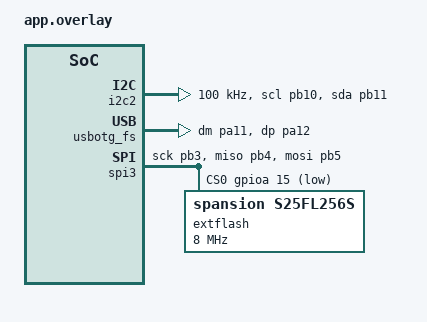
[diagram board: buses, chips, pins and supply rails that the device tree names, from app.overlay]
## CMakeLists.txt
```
cmake_minimum_required(VERSION 3.20.0)
find_package(Zephyr REQUIRED HINTS $ENV{ZEPHYR_BASE})
project(t2i_fw)

target_sources(app PRIVATE src/main.c src/reset_hook.c src/hx8347_fsmc.c src/touch.c
                          src/juno_logo.c src/accel.c src/keypad.c src/wake.c src/lowpower.c src/updater.c src/ui.c src/power.c src/safety.c src/battery.c src/funlight.c src/ir.c src/zbx.c
                          src/em250.c src/etrx2_ebl.c src/zbnet.c)

# Binary assets are generated into C arrays at build time rather than committed as .c blobs, so
# each can be replaced by swapping its source binary:
#   tools/rti/etrx2.ebl        -> the EM250 radio image embedded for on-device reflash
#   assets/juno_logo.rgb565    -> the boot splash (220x60 RGB565, see tools/make_logo.sh)
set(gen_dir ${CMAKE_CURRENT_BINARY_DIR}/gen)
generate_inc_file_for_target(app ${CMAKE_CURRENT_SOURCE_DIR}/tools/rti/etrx2.ebl ${gen_dir}/etrx2_ebl.inc)
generate_inc_file_for_target(app ${CMAKE_CURRENT_SOURCE_DIR}/assets/juno_logo.rgb565 ${gen_dir}/juno_logo.inc)
target_include_directories(app PRIVATE ${gen_dir})

# Firmware version is stamped from git, never hand-tagged: on a USB-only remote the
# boot banner is the only way to confirm which commit is running.
execute_process(
  COMMAND git -C ${CMAKE_CURRENT_SOURCE_DIR} describe --always --dirty
  OUTPUT_VARIABLE FW_GIT_VERSION OUTPUT_STRIP_TRAILING_WHITESPACE ERROR_QUIET)
if(NOT FW_GIT_VERSION)
  set(FW_GIT_VERSION "nogit")
endif()
target_compile_definitions(app PRIVATE FW_GIT_VERSION="${FW_GIT_VERSION}")
```

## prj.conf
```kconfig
# T2i firmware — chain-loaded by the RTI bootloader at 0x08004000.
CONFIG_USE_DT_CODE_PARTITION=y
CONFIG_INIT_ARCH_HW_AT_BOOT=y
CONFIG_SOC_RESET_HOOK=y
CONFIG_ARM_MPU=n
CONFIG_HW_STACK_PROTECTION=n

# I2C2 for the on-board accelerometer (LIS3DH @0x18)
CONFIG_I2C=y

# GPIO: EXTI wake interrupts on the keypad rows + accelerometer INT1 (PE5)
CONFIG_GPIO=y

# Display (HX8347 on FSMC) + LVGL
CONFIG_DISPLAY=y
CONFIG_LVGL=y
CONFIG_LV_COLOR_DEPTH_16=y
# LVGL is ~90% of the image, and Zephyr defaults nearly every widget on. Keep it
# minimal and switch things back on as they are actually used.
CONFIG_LV_USE_LABEL=y
CONFIG_LV_USE_BUTTON=n
CONFIG_LV_USE_IMAGE=y
CONFIG_LV_FONT_MONTSERRAT_14=y

# --- widgets we don't use (default y in Zephyr's LVGL Kconfig) ---
CONFIG_LV_USE_ANIMIMG=n
CONFIG_LV_USE_ARC=n
CONFIG_LV_USE_ARCLABEL=n
CONFIG_LV_USE_BAR=n
CONFIG_LV_USE_BUTTONMATRIX=n
CONFIG_LV_USE_CALENDAR=n
CONFIG_LV_USE_CANVAS=n
CONFIG_LV_USE_CHART=n
CONFIG_LV_USE_CHECKBOX=n
CONFIG_LV_USE_DROPDOWN=n
CONFIG_LV_USE_IMAGEBUTTON=n
CONFIG_LV_USE_KEYBOARD=n
CONFIG_LV_USE_LED=n
CONFIG_LV_USE_LINE=n
CONFIG_LV_USE_LIST=n
CONFIG_LV_USE_MENU=n
CONFIG_LV_USE_MSGBOX=n
CONFIG_LV_USE_ROLLER=n
CONFIG_LV_USE_SCALE=n
CONFIG_LV_USE_SLIDER=n
CONFIG_LV_USE_SPAN=n
CONFIG_LV_USE_SPINBOX=n
CONFIG_LV_USE_SPINNER=n
CONFIG_LV_USE_SWITCH=n
CONFIG_LV_USE_TABLE=n
CONFIG_LV_USE_TABVIEW=n
CONFIG_LV_USE_TEXTAREA=n
CONFIG_LV_USE_TILEVIEW=n
CONFIG_LV_USE_WIN=n
# 48KB. 24KB is NOT enough once the splash image widget exists — the UI hangs
# inside ui_init() with it. (24KB was sufficient for the older label+button UI,
# which is what misled me into trimming it.) Revisit only with a boot test, not
# by reasoning about it.
CONFIG_LV_Z_MEM_POOL_SIZE=49152
CONFIG_LV_Z_VDB_SIZE=16
CONFIG_MAIN_STACK_SIZE=8192

# --- USB update receiver (src/updater.c) -------------------------------------
# The RTI bootloader has no USB, so the application owning a working USB update
# path is what keeps a remote un-brickable without SWD. Keep these enabled.
CONFIG_SERIAL=y
CONFIG_UART_INTERRUPT_DRIVEN=y
CONFIG_RING_BUFFER=y
CONFIG_USB_DEVICE_STACK_NEXT=y
CONFIG_USBD_CDC_ACM_CLASS=y
CONFIG_SPI=y
CONFIG_SYSTEM_WORKQUEUE_STACK_SIZE=4096
CONFIG_UDC_STM32_STACK_SIZE=2048
CONFIG_ISR_STACK_SIZE=2048
```

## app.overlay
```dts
#include <zephyr/dt-bindings/gpio/gpio.h>

/* HX8347 LCD driver (bare-metal FSMC) exposed to Zephyr/LVGL as the display,
 * plus I2C2 for the on-board ST accelerometer (slave 0x18). */
/ {
	chosen {
		zephyr,display = &hx8347;
	};

	hx8347: hx8347 {
		compatible = "rti,hx8347-fsmc";
		width = <240>;
		height = <320>;
		status = "okay";
	};
};

&i2c2 {
	pinctrl-0 = <&i2c2_scl_pb10 &i2c2_sda_pb11>;
	pinctrl-names = "default";
	clock-frequency = <100000>;
	status = "okay";
};

/* USB CDC-ACM (OTG-FS, PA11/PA12) + external SPI-NOR on SPI3.
 * These carry the USB update receiver: the RTI bootloader has no USB of its
 * own, so this is the only no-SWD path back into a remote. */
zephyr_udc0: &usbotg_fs {
	pinctrl-0 = <&usb_otg_fs_dm_pa11 &usb_otg_fs_dp_pa12>;
	pinctrl-names = "default";
	status = "okay";

	cdc_acm_uart0: cdc_acm_uart0 {
		compatible = "zephyr,cdc-acm-uart";
	};
};

&gpioa { status = "okay"; };
&gpiob { status = "okay"; };

&spi3 {
	pinctrl-0 = <&spi3_sck_pb3 &spi3_miso_pb4 &spi3_mosi_pb5>;
	pinctrl-names = "default";
	cs-gpios = <&gpioa 15 GPIO_ACTIVE_LOW>;
	status = "okay";

	extflash: s25fl256s@0 {
		compatible = "spansion,s25fl256s", "jedec,spi-nor";
		reg = <0>;
		size = <0x10000000>;               /* 256 Mbit = 32 MB (bits) */
		spi-max-frequency = <8000000>;
		jedec-id = [01 02 19];
		status = "okay";
	};
};
```

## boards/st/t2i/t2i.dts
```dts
/*
 * RTI T2i — STM32F205VET6 (LQFP100, 512K flash, 128K RAM), 25 MHz HSE crystal.
 * Chain-loaded by RTI's bootloader (sector 0) which jumps to *(0x08004004),
 * so our image lives at 0x08004000 (slot0_partition + USE_DT_CODE_PARTITION).
 */
/dts-v1/;
#include <st/f2/stm32f205Xe.dtsi>
#include <st/f2/stm32f205v(b-c-e-f-g)tx-pinctrl.dtsi>

/ {
	model = "RTI T2i (STM32F205VET6)";
	compatible = "st,stm32f205vet6";

	chosen {
		zephyr,sram = &sram0;
		zephyr,flash = &flash0;
		zephyr,code-partition = &slot0_partition;
	};
};

&clk_hse {
	clock-frequency = <DT_FREQ_M(25)>;   /* 25 MHz crystal (reversed from RTI fw) */
	status = "okay";
};

&pll {
	div-m = <25>;   /* 25 MHz / 25 = 1 MHz PLL input */
	mul-n = <240>;  /* -> 240 MHz VCO */
	div-p = <2>;    /* -> 120 MHz SYSCLK */
	div-q = <5>;    /* -> 48 MHz USB */
	clocks = <&clk_hse>;
	status = "okay";
};

&rcc {
	clocks = <&pll>;
	clock-frequency = <DT_FREQ_M(120)>;
	ahb-prescaler = <1>;
	apb1-prescaler = <4>;
	apb2-prescaler = <2>;
};

&flash0 {
	partitions {
		#address-cells = <1>;
		#size-cells = <1>;

		/* RTI bootloader occupies sector 0 (16K) — must not be overwritten */
		boot_partition: partition@0 {
			label = "rti-bootloader";
			reg = <0x0 0x4000>;
			read-only;
		};

		/* our app: sectors 1..7 (0x08004000..0x0807FFFF, 496K) */
		slot0_partition: partition@4000 {
			label = "image-0";
			reg = <0x4000 0x7C000>;
		};
	};
};
```

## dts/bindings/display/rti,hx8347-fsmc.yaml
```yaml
description: |
  RTI T2i panel — Himax HX8347 controller on an 8-bit FSMC parallel bus.
  The driver drives the FSMC/GPIO/backlight directly (bare-metal), so this
  node is just a handle for the Zephyr display API / LVGL.

compatible: "rti,hx8347-fsmc"

include: [base.yaml]

properties:
  width:
    type: int
    default: 240
  height:
    type: int
    default: 320
```

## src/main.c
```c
/*
 * RTI T2i firmware — top level.
 *
 * Boot order is chosen for recoverability, not convenience. The radio-equipped
 * remote has no SWD, and the RTI bootloader has no USB of its own, so the
 * application enumerating USB *is* the only way back into that unit. Anything
 * that could stop it is therefore started after it, and guarded:
 *
 *   1. safety_boot_check()  count this boot; go USB-only if the last few failed
 *   2. updater_init()       USB update receiver, in its own thread
 *   3. watchdog             a hang now becomes a reset, not a dead remote
 *   4. everything else      display, LVGL, touch, keypad, accelerometer
 *   5. safety_mark_healthy()once the loop has genuinely run for a while
 *
 * Modules: updater.c (USB), ui.c (LVGL), power.c (sleep policy), wake.c (EXTI),
 * lowpower.c (STOP), safety.c (watchdog + boot counting), keypad/accel/touch,
 * hx8347_fsmc.c (display driver).
 */
#include <zephyr/kernel.h>
#include <zephyr/device.h>
#include <zephyr/drivers/display.h>
#include <stdio.h>
#include "status.h"
#include "ui.h"
#include "power.h"
#include "updater.h"
#include "safety.h"
#include "touch.h"
#include "accel.h"
#include "keypad.h"
#include "battery.h"
#include "funlight.h"
#include "ir.h"
#include "em250.h"
#include "zbx.h"
#include "zbnet.h"

uint16_t hx8347_panel_id(void);
int hx8347_backlight_pct(void);
void hx8347_backlight_state(uint32_t *out);
#include "wake.h"
#include "lowpower.h"

#define SPLASH_MS 3000

/* Run this long without incident before declaring the boot good. Long enough to
 * be past init and a few hundred render passes. */
#define HEALTHY_AFTER_MS 10000

/* Stamped from git at build time (git describe --always --dirty) — never
 * hand-tagged. On a USB-only remote the boot banner is still the only way to
 * confirm which commit is actually running. */
#ifndef FW_GIT_VERSION
#define FW_GIT_VERSION "nogit"
#endif
#define FW_VERSION FW_GIT_VERSION

/* Set to 1 to reset before ever reaching safety_mark_healthy(), so the boot
 * counter climbs and safe mode engages. This is how the recovery path gets
 * re-tested after changes to boot, USB or the watchdog — see docs/USB-FLASHING.md. */
#define FORCE_UNHEALTHY 0

/* Deliberately unbootable firmware, for testing the recovery path for real.
 *   1 = hard fault AFTER updater_init()  — should recover via safe mode
 *   2 = hang BEFORE updater_init()       — expected to be UNRECOVERABLE over USB
 * See docs/USB-FLASHING.md. Leave at 0. */
#define BRICK_TEST 0

#define IR_ENABLE_TEST 0   /* browns the remote out — see below */
#define KEY_HOLD_MS 400  /* a press this long is a hold, not a click */
/* Ambient light -> backlight. Thresholds are MEASURED on this hardware, not scaled:
 *   thumb fully over the sensor   1..6
 *   ordinary lit room             5..20
 *   torch pointed at it           400
 * So the entire indoor span is a couple of dozen counts out of 4095, and anything that treated
 * the reading as a 0..4095 range would sit on the bottom step forever. `above` is the raw count
 * a step needs to beat, walked from brightest down. */
static const struct { int above; int pct; } ALS_STEPS[] = {
	{ 100, 90 },   /* daylight or a torch on it */
	{  20, 70 },
	{  10, 50 },
	{   3, 30 },
	{  -1, 15 },   /* covered, or a dark room */
};

/* How long a light level must hold before the backlight follows it.
 *
 * Long on purpose, and longer than the LED's: a hand passing over the remote, or somebody
 * walking between it and a lamp, must not step the screen. Slow is also what stops a feedback
 * loop if the panel's own backlight reaches the sensor -- a fast loop there would ramp itself
 * to full. */
#define ALS_HOLD_MS 2500

/* EMA shift: the average trails by roughly 2^ALS_SMOOTH samples of the 10ms loop, so ~0.6s. */
#define ALS_SMOOTH 6

/* How often to report the radio link over USB. */
#define ZBX_REPORT_MS 10000

/* Reflash the EM250 with RTI's ZB-Pro coordinator image, once, on the first pass after boot.
 * Set 0 once the radio already runs Telegesis — re-running just reflashes the same image
 * needlessly. */
#define EM250_FLASH 0

/* Set to 0 to pin the backlight at BACKLIGHT_PCT and ignore the sensor. */
#define AUTO_BRIGHTNESS 1

#define LED_HOLD_MS 3000 /* how long a charger state must hold before the LED follows */
#define DEBUG_HOLD_MS 3000

#define MARK(off, v) (*(volatile uint32_t *)(0x2001FF00 + (off)) = (uint32_t)(v))

/* USB-only safe mode: the previous boots failed, so run the update receiver and
 * absolutely nothing else. Whatever was crashing — display, LVGL, touch, radio
 * — is not started here, so the host can always push a working image. */
static void safe_mode(void)
{
	MARK(0x00, 0x5AFE);

	/* Clear the counter on the way in, so safe mode is one-shot: the next boot
	 * tries the real firmware again. Without this, anything that resets before
	 * the healthy mark — including a developer's st-flash --reset — latches the
	 * remote into safe mode permanently. If the firmware really is broken it
	 * simply fails three more times and lands back here, which is the
	 * self-recovering behaviour we want. */
	safety_mark_healthy();

	/* Say so, repeatedly. A one-shot line at boot is unobservable on a USB-only unit: the CDC
	 * port stalls ~25s on first open, so by the time a host is listening the boot is long past.
	 * Silence and a working port look identical, which is exactly the confusion this cost. */
	int64_t said = 0;

	while (1) {
		safety_watchdog_feed();
		if (k_uptime_get() - said >= 2000) {
			said = k_uptime_get();
			updater_emit("SAFE MODE — USB only, previous boots failed");
		}
		k_msleep(100);
	}
}

/* Upload progress. Called every 8 blocks, mostly so the watchdog gets fed — the transfer runs far
 * longer than its ~8 s window. The emit is throttled separately so the log stays readable. */
static void flash_progress(unsigned done, unsigned total)
{
	char line[64];

	safety_watchdog_feed();
	if ((done % 64u) == 0u || done == total) {
		snprintf(line, sizeof line, "EM250: %u/%u blocks", done, total);
		updater_emit(line);
	}
}

int main(void)
{
	bool unsafe_boot = safety_boot_check();

	if (BRICK_TEST == 2) {
		/* Before USB exists, so no boot can ever enumerate and safe mode can
		 * never be reached. This is the documented gap, made real. */
		while (1) {
		}
	}

	/* USB first, always: it is the recovery path and must not depend on
	 * anything below it surviving. */
	updater_init();
	MARK(0x00, 1);

	/* Only now arm the watchdog — USB is up, so a later hang resets into a
	 * boot that still enumerates. */
	safety_watchdog_start();

	if (unsafe_boot) {
		safe_mode();   /* never returns */
	}

	if (BRICK_TEST == 1) {
		/* An undefined instruction: a guaranteed UsageFault -> hard fault. A
		 * write to an unmapped address is NOT reliable here — 0xFFFFFFF0 sits in
		 * the vendor/PPB region and the store is simply ignored, which is how
		 * the first attempt at this test silently did nothing.
		 *
		 * Placed after the safe-mode branch, exactly as a broken subsystem would
		 * be: safe mode does not start it, so the remote stays reachable. */
		__asm__ volatile("udf #0");
	}

	if (FORCE_UNHEALTHY) {
		k_msleep(1500);
		safety_force_reset();
	}

	const struct device *disp = DEVICE_DT_GET(DT_CHOSEN(zephyr_display));


	if (!device_is_ready(disp)) {
		safe_mode();   /* no screen, but USB is live — still recoverable */
	}

	ui_init(disp, SPLASH_MS);
	safety_watchdog_feed();

	MARK(0x00, 2);

	touch_init();
	beep_init();
	keypad_init();

	/* Hold any key while powering on: never sleep. Gives a deterministic
	 * always-attachable target for SWD flashing on the bench unit. */
	bool recovery = keypad_any();

	ui_touch_indev_init();
	battery_init();
	funlight_init();

	/* Boot sweep: light each channel in turn, then all three. Which physical
	 * colour each channel drives is not in the decomp, so this is how they get
	 * labelled — the name printed over USB is the channel that is lit. */
	static const char *const fl_ch[3] = { "red", "green", "blue" };

	/* Feed across every one of these. They run AFTER safety_watchdog_start(), and together with
	 * the splash they very nearly exhaust the 8s IWDG period on their own — adding a blocking
	 * radio probe here once pushed boot past it, which reset-looped the remote into safe mode.
	 * On a unit with no SWD that is only recoverable because safe mode keeps USB up. */
	for (int c = 0; c < 3; c++) {
		funlight_set(c == 0, c == 1, c == 2, 100);
		updater_emit(fl_ch[c]);
		safety_watchdog_feed();
		k_msleep(500);
	}
	funlight_set(true, true, true, 100);
	updater_emit("all three");
	safety_watchdog_feed();
	k_msleep(500);

	{
		char idb[40];

		updater_emit("T2i fw " FW_VERSION);
		/* Radio init goes here — in main, after updater_init(). NEVER in a
		 * driver-init hook: anything failing before USB is up cannot be
		 * recovered on a remote without SWD (docs/USB-FLASHING.md). */
		safety_watchdog_feed();
		zbx_uart_init();
		safety_watchdog_feed();
		updater_emit(zbx_selftest() ? "ZBX selftest PASS" : "ZBX selftest FAIL");
		{
			uint8_t pd, pu;
			char lb[64];

			zbx_rx_line(&pd, &pu);
			uint32_t pclk = zbx_pclk1();

			snprintf(lb, sizeof(lb), "ZBX pclk1=%u baud=%u", pclk, pclk / 260u);
			updater_emit(lb);
			snprintf(lb, sizeof(lb), "ZBX rx-line pulldown=%u pullup=%u (%s)", pd, pu,
				 (pd && pu) ? "DRIVEN - radio present" : "FLOATING - nothing driving");
			updater_emit(lb);
		}
		snprintf(idb, sizeof(idb), "PANEL id=0x%04x", hx8347_panel_id());
		updater_emit(idb);
	}
	{
		uint32_t bl[8];
		char blb[128];

		hx8347_backlight_state(bl);
		snprintf(blb, sizeof(blb),
			 "BL cr1=%08x arr=%u ccr2=%u ccer=%04x ccmr1=%04x "
			 "moder_a=%08x afrl_a=%08x idr_c=%08x",
			 bl[0], bl[1], bl[2], bl[3], bl[4], bl[5], bl[6], bl[7]);
		updater_emit(blb);
	}

	ir_init();
	bool accel_ok = accel_init();
	bool wake_ok = wake_init();
	power_init(disp, recovery);
	MARK(0x00, (accel_ok ? 7 : 0x70) | (wake_ok ? 0 : 0x700));

	struct t2i_status st = {
		.accel_ok = accel_ok,
		.recovery = recovery,
		.woke_by = "-",
		.clk = "?",
		.boot_attempts = safety_boot_attempts(),
		.reset_cause = safety_reset_cause(),
	};
	uint32_t beat = 0;
	uint8_t last_reported_key = KEY_NONE;
	static bool flashed;
	int last_led = -1, led_pending = -1;
	int64_t key_down_at = 0;
	bool key_held_sent = false;
	int64_t led_since = 0;
	int als_step = -1, als_pending = -1;
	int64_t als_since = 0;
	int32_t als_acc = -1;   /* EMA accumulator, value << ALS_SMOOTH */
	int64_t zbx_last_report = 0;
	int64_t debug_held_since = 0;
	int64_t backlight_held_since = 0;
	bool menu_lit = false;
	bool healthy = false;
	int64_t started = k_uptime_get();

	zbnet_start();   /* radio runs on its own thread from here; main never touches USART3 again */

	while (1) {
		MARK(0x04, ++beat);
		safety_watchdog_feed();

		if (!healthy && k_uptime_get() - started > HEALTHY_AFTER_MS) {
			safety_mark_healthy();
			healthy = true;
			st.healthy = true;
		}

		/* Report the radio periodically, not just at boot. The CDC port stalls ~25s on first
		 * open, so a one-shot boot banner is unobservable on a unit with no SWD — by the time
		 * a host is listening it is long gone. */
		if (k_uptime_get() - zbx_last_report >= ZBX_REPORT_MS) {
			uint32_t f, bad, by;
			char line[72];

			zbx_last_report = k_uptime_get();
			zbx_stats(&f, &bad, &by);
			uint8_t raw[24];
			size_t rn = zbx_raw(raw, sizeof raw);
			int w = snprintf(line, sizeof(line), "ZBX frames=%u bad=%u bytes=%u raw:", f, bad, by);

			for (size_t k = 0; k < rn && w < (int)sizeof(line) - 4; k++) {
				w += snprintf(line + w, sizeof(line) - (size_t)w, " %02x", raw[k]);
			}
			updater_emit(line);

			/* Display state, repeated rather than printed once at boot: the boot banner is
			 * unobservable on a USB-only unit (the CDC port stalls ~25s on open), which is
			 * exactly the situation a dark screen leaves you in. */
			snprintf(line, sizeof(line), "DISP panel=0x%04x bl=%d%% als=%d~%d",
				 hx8347_panel_id(), hx8347_backlight_pct(), st.als, st.als_avg);
			updater_emit(line);

			/* Reflash the radio, once.
			 *
			 * RTI's TXBZB app cannot join any network we can build: it demands the
			 * network key APS-encrypted and holds no preconfigured key to decrypt
			 * it with, and neither end can be talked out of that. The EM250 is a
			 * XAP2b SoC with no obtainable toolchain, and an "EM250 NCP image" does
			 * not exist (EZSP is an EM260/SN260 protocol) — so RTI's own ZB-Pro
			 * coordinator build is the only radio firmware we will ever have.
			 *
			 * Cannot brick it: the image's 97 records write only 0x02800-0x19BC8,
			 * 0x1C000-0x1CAAE and 0x1DF32-0x1DFFC, so the bootloader's reserved
			 * 0x0000-0x27FF is never touched, and a failed upload merely leaves the
			 * app invalid — which keeps the bootloader resident. Not undoable: no
			 * copy of TXBZB exists and the radio has no read-out path. */
			if (EM250_FLASH && !flashed) {
				char info[64];

				flashed = true;
				updater_emit("EM250: entering bootloader");
				if (!em250_bl_enter()) {
					updater_emit("EM250: entry FAILED - radio untouched");
				} else {
					bool ok;

					em250_bl_info(info, sizeof info);
					snprintf(line, sizeof(line), "EM250: before = %s", info);
					updater_emit(line);

					snprintf(line, sizeof(line), "EM250: flashing Telegesis %u bytes",
						 (unsigned)etrx2_ebl_raw_len);
					updater_emit(line);

					ok = em250_flash_ebl(etrx2_ebl_raw, etrx2_ebl_raw_len,
							     flash_progress);
					updater_emit(ok ? "EM250: upload OK" : "EM250: upload FAILED");
					safety_watchdog_feed();

					if (!em250_bl_enter()) {
						updater_emit("EM250: re-entry failed; resetting radio");
						zbx_uart_init();
					} else {
						em250_bl_info(info, sizeof info);
						snprintf(line, sizeof(line), "EM250: after  = %s", info);
						updater_emit(line);
						em250_bl_run();
					}
					safety_watchdog_feed();
				}
			}

		}

		st.key = keypad_scan(&st.key_row, &st.key_col);
		st.key_rows = keypad_rows();
		st.key_name = keypad_name(st.key);

		/* Report key transitions to the host over USB CDC. This is the path to
		 * publishing button presses without the radio: tools/t2i_mqtt_bridge.py
		 * reads these lines and forwards them to MQTT. */
		if (st.key != last_reported_key) {
			char ev[48];

			if (st.key != KEY_NONE) {
				/* A volume adjust previews the new level itself, so skip the
				 * click there; every other key clicks. */
				bool vol_adjust = (st.menu == 2 &&
						   (st.key == KEY_LEFT || st.key == KEY_RIGHT));
				if (!vol_adjust) {
					beep_click();   /* stock clicks on every key, not just some */
				}
				if (st.menu) {
					/* The menu is modal: the D-pad navigates it locally and
					 * nothing goes out over RF. Pages: 1 connectivity,
					 * 2 settings, 3 debug. */
					switch (st.key) {
					case KEY_DOWN: if (st.menu < 3) { st.menu++; } break;
					case KEY_UP:   if (st.menu > 1) { st.menu--; } break;
					case KEY_EXIT:
					case KEY_BACK:  st.menu = 0; break;
					case KEY_LEFT:   /* settings: quieter */
						if (st.menu == 2) {
							beep_set_volume(beep_get_volume() - 1);
							beep_click();   /* preview at the new level */
						}
						break;
					case KEY_RIGHT:  /* settings: louder */
						if (st.menu == 2) {
							beep_set_volume(beep_get_volume() + 1);
							beep_click();
						}
						break;
					default: break;
					}
					ui_invalidate();
				} else if (st.key != KEY_BACKLIGHT) {
					/* Backlight is a local key (hold = menu); every other key
					 * is a remote button and is unicast at once by the radio
					 * thread. */
					zbnet_send_key(st.key);
				}
				snprintf(ev, sizeof(ev), "KEY DOWN %u %s r%d c%d",
					 st.key, st.key_name, st.key_row, st.key_col);
			} else {
				snprintf(ev, sizeof(ev), "KEY UP %u %s", last_reported_key,
					 keypad_name(last_reported_key));
			}
			updater_emit(ev);
			last_reported_key = st.key;

			key_down_at = (st.key != KEY_NONE) ? k_uptime_get() : 0;
			key_held_sent = false;

			/* IR check, DISABLED: sending a frame browns the remote out. A
			 * NEC header is a 9ms mark, and if the envelope on PB15 is not
			 * actually gating the PB0 carrier the way the decomp reads, that is
			 * ~68ms of continuous 50%-duty LED drive — enough to drop the rail.
			 * Do not re-enable until the gating is confirmed on a scope or the
			 * drive current is measured. */
			if (IR_ENABLE_TEST && st.key == IR_TEST_KEY) {
				ir_send_nec(0x00, 0x15);
				updater_emit("IR sent NEC 00 15");
			}
		}

		/* A held key, reported once when it crosses the threshold.
		 *
		 * This has to happen here and not host-side: a Juno driver runs in a sandbox with no
		 * clock, so it can see DOWN and UP but cannot time the gap between them. Without this
		 * line nothing downstream can tell a tap from a hold, and a hold-to-ramp rule has
		 * nothing to start on. */
		if (st.key != KEY_NONE && !key_held_sent && key_down_at &&
		    k_uptime_get() - key_down_at >= KEY_HOLD_MS) {
			char ev[48];

			snprintf(ev, sizeof(ev), "KEY HELD %u %s", st.key, st.key_name);
			updater_emit(ev);
			key_held_sent = true;
		}

		/* Hold Backlight to open the on-device menu at the connectivity page.
		 * The menu forces the screen bright so it is readable in the dark. */
		if (st.key == KEY_BACKLIGHT) {
			if (backlight_held_since == 0) {
				backlight_held_since = k_uptime_get();
			} else if (st.menu == 0 &&
				   k_uptime_get() - backlight_held_since >= KEY_HOLD_MS) {
				st.menu = 1;
				ui_invalidate();
			}
		} else {
			backlight_held_since = 0;
		}

		/* Watchdog self-test now lives on the debug page: hold OK there to arm
		 * it. Off the main path so it cannot fire by accident. */
		if (st.menu == 3 && st.key == KEY_SELECT) {
			if (debug_held_since == 0) {
				debug_held_since = k_uptime_get();
			}
			st.debug_hold_ms = (uint32_t)(k_uptime_get() - debug_held_since);
			if (st.debug_hold_ms >= DEBUG_HOLD_MS && !st.wdt_test_armed) {
				safety_watchdog_selftest();
				st.wdt_test_armed = true;
			}
		} else {
			debug_held_since = 0;
			st.debug_hold_ms = 0;
		}

		bool motion = accel_motion();
		if (motion) {
			st.motion_events++;
		}

		/* While asleep LVGL is not running, so its read callback never fires
		 * and ui_touch_down() would go stale — read the panel directly. */
		bool touched = power_asleep() ? touch_read(NULL, NULL, NULL)
					      : ui_touch_down();
		bool activity = touched || motion || st.key != KEY_NONE;
		const char *source = touched ? "touch"
					     : (st.key != KEY_NONE ? "KEY" : "motion");

		bool was_asleep = power_asleep();

		if (power_tick(activity, source)) {
			continue;   /* asleep: power_tick already blocked for us */
		}

		if (was_asleep) {
			/* Just woke: the panel was powered down, so its framebuffer is
			 * gone and LVGL would otherwise repaint nothing. */
			ui_invalidate();
			funlight_init();     /* stock re-sends the resync command on wake */
			last_led = -1;       /* force the indicator to be re-applied */
			st.menu = 0;         /* always wake to the main screen */
		}

		accel_read(&st.accel_x, &st.accel_y, &st.accel_z);
		st.batt_raw = battery_raw();
		st.batt_low = battery_low();
		st.als = als_raw();

		/* Smooth before deciding anything. The raw reading jitters by several counts, and the
		 * whole indoor range is only a couple of dozen counts wide — so raw samples cross a
		 * threshold constantly, which reset the hold timer below on almost every pass and meant
		 * the backlight never actually moved. */
		if (st.als >= 0) {
			if (als_acc < 0) {
				als_acc = st.als << ALS_SMOOTH;   /* seed, so boot does not ramp from 0 */
			}
			als_acc += st.als - (als_acc >> ALS_SMOOTH);
			st.als_avg = als_acc >> ALS_SMOOTH;
		}
		st.backlight = hx8347_backlight_pct();
		st.charger = battery_charger_present();
		st.charge_state = battery_charge_state();

		/* Menu forces the screen bright — you opened it to read it. Leaving the
		 * menu hands brightness back to the ambient-light logic. */
		if (st.menu && !menu_lit) {
			display_set_brightness(disp, 255);
			menu_lit = true;
		} else if (!st.menu && menu_lit) {
			menu_lit = false;
			als_step = -1;   /* force auto-brightness to re-apply below */
		}

		/* Auto-brightness. Only written on an actual change: every write reprograms TIM2. */
		if (AUTO_BRIGHTNESS && !st.menu && als_acc >= 0) {
			int step = 0;

			while (ALS_STEPS[step].above >= 0 && st.als_avg <= ALS_STEPS[step].above) {
				step++;
			}
			if (step != als_pending) {
				als_pending = step;
				als_since = k_uptime_get();
			} else if (step != als_step &&
				   k_uptime_get() - als_since >= ALS_HOLD_MS) {
				als_step = step;
				display_set_brightness(disp,
						       (uint8_t)(ALS_STEPS[step].pct * 255 / 100));
			}
		}

		/* Front-panel indicator, following stock's states (FUN_0800e214):
		 * on battery = one colour, charging = another, complete = a third.
		 * Which physical colour each channel drives is NOT yet confirmed —
		 * no part number appears near this code — so these are channel
		 * indices, to be labelled once observed on hardware.
		 * Only written on change: a frame locks interrupts for ~3ms. */
		/* On battery the indicator stays dark unless the pack is actually low.
		 * Stock has a third state here, but a permanently lit LED on a remote
		 * that spends its life asleep is not worth the drain. */
		int led = st.charger ? (st.charge_state == 2 ? 1 : 2) : (st.batt_low ? 0 : -1);

		/* A topped-off pack really does toggle between charging and complete,
		 * and an IR burst draws enough current to nudge the charger IC on its
		 * own — so this is real chatter, not a glitch to filter out. Require a
		 * state to hold for LED_HOLD_MS before the colour follows it. */
		if (led != led_pending) {
			led_pending = led;
			led_since = k_uptime_get();
		}
		if (k_uptime_get() - led_since < LED_HOLD_MS) {
			led = last_led;
		}

		if (led != last_led) {
			funlight_set(led == 1, led == 2, led == 0, 40);
			last_led = led;
		}
		ui_touch_raw(&st.touch_x, &st.touch_y, &st.touch_z);
		ui_touch_range(&st.touch_min_x, &st.touch_max_x,
			       &st.touch_min_y, &st.touch_max_y);
		st.touch_down = touched;
		st.asleep = power_asleep();
		st.rf_joined = zbnet_joined();
		st.beep_vol = (uint8_t)beep_get_volume();
		st.wakes = power_wakes();
		st.woke_by = power_woke_by();
		st.wake_irqs = wake_count();
		st.stops = lowpower_stop_count();
		st.clk = lowpower_sysclk_src() == 2 ? "PLL120"
			: (lowpower_sysclk_src() == 1 ? "HSE" : "HSI16");
		st.usb_busy = updater_busy();
		st.usb_received = updater_received();
		st.usb_declared = updater_declared();

		ui_render(&st);
		k_msleep(10);   /* idle between frames; keeps SWD able to halt us */
	}
	return 0;
}
```

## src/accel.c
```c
/*
 * LIS3DH accelerometer on I2C2 @0x18 — wake-on-motion source for the T2i.
 *
 * Register values are copied verbatim from stock RTI (FUN_0801acda), which is
 * what makes the interrupt behave like the original remote:
 *   CTRL_REG2 = 0x09 puts the high-pass filter in front of INT1, so gravity is
 *   subtracted and only *changes* in acceleration trip it — without that a
 *   remote lying still on a table sits permanently above the threshold.
 *
 * INT1 is wired to PE5 (EXTI line 5) on the hardware. We don't use the pin: the
 * interrupt is latched (LIR_INT1) so polling INT1_SRC over I2C catches every
 * event and clears it. That avoids EXTI/NVIC plumbing entirely, and is plenty
 * for screen-off sleep. Wiring PE5 to EXTI only becomes necessary for STM32 STOP
 * mode, where the CPU must be woken by a pin rather than by polling.
 */
#include <zephyr/kernel.h>
#include <zephyr/device.h>
#include <zephyr/drivers/i2c.h>
#include "accel.h"

#define ACCEL_ADDR   0x18

#define REG_WHO_AM_I 0x0F
#define REG_CTRL1    0x20
#define REG_INT1_CFG 0x30
#define REG_REFERENCE 0x26
#define REG_INT1_SRC 0x31
#define REG_INT1_THS 0x32
#define REG_INT1_DUR 0x33
#define REG_OUT_X_L  0x28
#define AUTO_INC     0x80   /* multi-byte reads need bit7 set in the sub-address */

#define WHO_AM_I_LIS3DH 0x33
#define INT1_SRC_IA     (1u << 6)   /* an interrupt was generated */

static const struct device *i2c;
static bool ready;
static uint8_t last_src;   /* last INT1_SRC, exposed for bring-up diagnostics */

/* stock RTI init, in RTI's own order (FUN_0801acda) */
static const uint8_t init_seq[][2] = {
	{ 0x20, 0x57 },   /* CTRL_REG1: 100 Hz, X/Y/Z enabled, normal mode */
	/* CTRL_REG2: HP_IA1 only. Stock writes 0x09, which also sets FDS — that
	 * routes high-pass-filtered data into the OUTPUT registers, so a stationary
	 * remote reads ~0 on every axis with no gravity and just noise on top.
	 * (That is the "jitters around 0, no steady 1g" symptom.) RTI only cares
	 * about motion; we want readable orientation too, so clear FDS and keep the
	 * filter on the interrupt generator, where it belongs. */
	{ 0x21, 0x01 },
	{ 0x22, 0x40 },   /* CTRL_REG3: IA1 routed to the INT1 pin */
	{ 0x23, 0x20 },   /* CTRL_REG4: +/-8g  (0x08 here was the old scaling bug) */
	{ 0x24, 0x08 },   /* CTRL_REG5: latch INT1 until INT1_SRC is read */
	/* INT1_THS is 7-bit; stock writes 0x8a with bit7 (reserved) set. Taken at
	 * face value that is ~8.5g at +/-8g — a threshold nothing short of a whack
	 * will cross, which is why motion never woke us. 1 LSB = 62mg here, so
	 * 0x06 is ~0.4g: enough to catch the remote being picked up, high enough
	 * that a still remote never trips it. Raise if it wakes in your pocket. */
	{ 0x32, 0x06 },
	{ 0x33, 0x01 },   /* INT1_DURATION */
	{ 0x30, 0x2a },   /* INT1_CFG: X/Y/Z high events, OR'd */
};

bool accel_init(void)
{
	uint8_t who = 0;

	i2c = DEVICE_DT_GET(DT_NODELABEL(i2c2));
	if (!device_is_ready(i2c)) {
		return false;
	}
	if (i2c_reg_read_byte(i2c, ACCEL_ADDR, REG_WHO_AM_I, &who) != 0 ||
	    who != WHO_AM_I_LIS3DH) {
		return false;   /* wrong part, or the bus never answered */
	}

	for (unsigned i = 0; i < ARRAY_SIZE(init_seq); i++) {
		if (i2c_reg_write_byte(i2c, ACCEL_ADDR, init_seq[i][0], init_seq[i][1]) != 0) {
			return false;
		}
	}

	/* Reading REFERENCE resets the high-pass filter. Without this the filter can
	 * sit with a stale offset after configuration and never produce a value that
	 * crosses the threshold. */
	(void)i2c_reg_read_byte(i2c, ACCEL_ADDR, REG_REFERENCE, &who);
	/* clear any interrupt latched while we were configuring */
	(void)i2c_reg_read_byte(i2c, ACCEL_ADDR, REG_INT1_SRC, &who);

	ready = true;
	return true;
}

uint8_t accel_last_src(void)
{
	return last_src;
}

bool accel_read(int *x, int *y, int *z)
{
	uint8_t b[6];

	if (!ready ||
	    i2c_burst_read(i2c, ACCEL_ADDR, REG_OUT_X_L | AUTO_INC, b, sizeof(b)) != 0) {
		return false;
	}

	/* CTRL_REG1 LPen=0 + CTRL_REG4 HR=0 = normal mode: 10 significant bits,
	 * left-justified in 16. Shift down so the value is a real 10-bit signed
	 * reading (~64 counts per g at +/-8g) rather than 256x too large. */
	int16_t rx = (int16_t)(b[0] | (b[1] << 8));
	int16_t ry = (int16_t)(b[2] | (b[3] << 8));
	int16_t rz = (int16_t)(b[4] | (b[5] << 8));

	if (x) { *x = rx >> 6; }
	if (y) { *y = ry >> 6; }
	if (z) { *z = rz >> 6; }
	return true;
}

bool accel_motion(void)
{
	uint8_t src = 0;

	if (!ready ||
	    i2c_reg_read_byte(i2c, ACCEL_ADDR, REG_INT1_SRC, &src) != 0) {
		return false;
	}
	last_src = src;
	return (src & INT1_SRC_IA) != 0;   /* the read itself clears the latch */
}
```

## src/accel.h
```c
#ifndef T2I_ACCEL_H
#define T2I_ACCEL_H

#include <stdbool.h>
#include <stdint.h>

/* LIS3DH on I2C2 @0x18, configured exactly as stock RTI (FUN_0801acda):
 * 100 Hz, +/-8g, high-pass filtered wake-on-motion latched on INT1 (PE5). */
bool accel_init(void);

/* Raw 10-bit acceleration (normal mode, sign-extended). NULL args are skipped. */
bool accel_read(int *x, int *y, int *z);

/* True once per motion event that crossed the INT1 threshold. Reading the
 * source register clears the latch, so each event is reported exactly once. */
bool accel_motion(void);

/* Raw INT1_SRC from the last accel_motion() call — bring-up diagnostics. */
uint8_t accel_last_src(void);

#endif /* T2I_ACCEL_H */
```

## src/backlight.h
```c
#ifndef T2I_BACKLIGHT_H
#define T2I_BACKLIGHT_H

/* Keypad backlight (PC8 = TIM8_CH3), 0..100%.
 *
 * Stock RTI's curve (FUN_0801ab1e): period 300, pulse = pct*2 + 75, so its
 * usable PWM range floors around 25%. The 0 and 100 endpoints are driven as
 * static GPIO with the timer stopped — LOW for off, HIGH for full, the same
 * sense as the LCD backlight (stock uses GPIO_ResetBits for 0, SetBits for 100).
 *
 * The LCD backlight is not exposed here; it goes through the Zephyr display API
 * (display_set_brightness / display_blanking_on|off).
 */
void keypad_backlight_set(int pct);

#endif /* T2I_BACKLIGHT_H */
```

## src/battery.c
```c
/*
 * Battery + charger sensing — see battery.h.
 *
 * Reversed from stock: FUN_0801b9ac / FUN_0801bd58 configure ADC1 with PA7
 * analog and ADC_RegularChannelConfig(ADC1, 7, 1, 480 cycles). The charger GPIOs
 * (PC9 present, PC14/PC15 status, all input pull-up) are read by FUN_0800e214,
 * which also drives PC12 LOW to light the low-battery indicator.
 *
 * NOTE PC12: our display driver holds it HIGH and must keep doing so — that is
 * the indicator being *off*. Do not drive it low unless you mean "low battery";
 * doing so also browns out the panel (see docs/BACKLIGHT.md).
 */
#include <zephyr/kernel.h>
#include "t2i_regs.h"
#include "battery.h"

#define ADC1_BASE  0x40012000u
#define ADC1_SR    REG32(ADC1_BASE + 0x00)
#define ADC1_CR1   REG32(ADC1_BASE + 0x04)
#define ADC1_CR2   REG32(ADC1_BASE + 0x08)
#define ADC1_SMPR2 REG32(ADC1_BASE + 0x10)
#define ADC1_SQR1  REG32(ADC1_BASE + 0x2C)
#define ADC1_SQR3  REG32(ADC1_BASE + 0x34)
#define ADC1_DR    REG32(ADC1_BASE + 0x4C)

#define ADC_SR_EOC_BIT   (1u << 1)
#define ADC_CR2_ADON_BIT (1u << 0)
#define ADC_CR2_SWSTART_BIT (1u << 30)

#define BATT_CHANNEL 7                  /* PA7 = ADC1 IN7 */

/* Ambient light shares ADC1 rather than getting its own controller.
 *
 * Stock puts the "ALS Task" on ADC2 channel 9 (FUN_0801c030) and then needs a mutex, because
 * ADC2 is also the touchscreen's (channels 3..6). PB1 is IN9 on *both* ADCs, so putting it here
 * sidesteps that contention entirely — and one owner of ADC1 means nothing else can be
 * mid-conversion on a different channel when we re-select SQR3. */
#define ALS_CHANNEL 9                   /* PB1 = ADC1 IN9 */

/* Stock's thresholds, raw 12-bit counts (FUN_0801bd58 region). */
#define BATT_LOW_TRIP  2460
#define BATT_LOW_CLEAR 2731

static bool low_latched;

void battery_init(void)
{
	RCC_AHB1ENR |= RCC_AHB1ENR_GPIO(GPIO_PORT_A) | RCC_AHB1ENR_GPIO(GPIO_PORT_B)
		       | RCC_AHB1ENR_GPIO(GPIO_PORT_C);
	RCC_APB2ENR |= (1u << 8);       /* ADC1EN */

	/* PA7 analog (battery), PB1 analog (ambient light) */
	GPIO_MODER(GPIO_PORT_A) |= (3u << (7 * 2));
	GPIO_MODER(GPIO_PORT_B) |= (3u << (1 * 2));

	/* Charger sense: PC9 present, PC14/PC15 status — inputs with pull-ups. */
	for (int pin = 9; pin <= 15; pin++) {
		if (pin != 9 && pin != 14 && pin != 15) {
			continue;
		}
		GPIO_MODER(GPIO_PORT_C) &= ~(3u << (pin * 2));               /* input */
		GPIO_PUPDR(GPIO_PORT_C) = (GPIO_PUPDR(GPIO_PORT_C) & ~(3u << (pin * 2)))
					  | (1u << (pin * 2));               /* pull-up */
	}

	ADC1_CR1  = 0;                  /* 12-bit, no scan */
	ADC1_SQR1 = 0;                  /* one conversion */
	ADC1_SMPR2 = 0x3FFFFFFF;        /* 480-cycle sample, ch0..9 */
	ADC1_SQR3 = BATT_CHANNEL;
	ADC1_CR2  = ADC_CR2_ADON_BIT;
	k_busy_wait(20);
}

static int adc1_read(int ch)
{
	ADC1_SQR3 = (uint32_t)ch;
	ADC1_SR = 0;
	ADC1_CR2 |= ADC_CR2_SWSTART_BIT;

	/* bounded: a stalled ADC must never hang the remote */
	for (int i = 0; i < 200000 && !(ADC1_SR & ADC_SR_EOC_BIT); i++) {
		__asm__ volatile("nop");
	}
	if (!(ADC1_SR & ADC_SR_EOC_BIT)) {
		return -1;
	}
	return (int)(ADC1_DR & 0xFFF);
}

int battery_raw(void) { return adc1_read(BATT_CHANNEL); }

/* Raw ambient light, 0..4095, or -1 if the conversion stalled.
 *
 * Higher means MORE light (docs/BATTERY-LEDS.md, inferred from which brightness preset each
 * state selects — not measured, so the direction is worth confirming with a torch before any
 * auto-brightness curve is built on it). */
int als_raw(void) { return adc1_read(ALS_CHANNEL); }

bool battery_low(void)
{
	int v = battery_raw();

	if (v < 0) {
		return low_latched;   /* no reading: keep the last decision */
	}
	if (v < BATT_LOW_TRIP) {
		low_latched = true;
	} else if (v > BATT_LOW_CLEAR) {
		low_latched = false;
	}
	return low_latched;
}

bool battery_charger_present(void)
{
	return ((GPIO_IDR(GPIO_PORT_C) >> 9) & 1u) == 0u;   /* pull-up: low = present */
}

uint8_t battery_charge_state(void)
{
	uint32_t idr = GPIO_IDR(GPIO_PORT_C);

	return (uint8_t)(((idr >> 14) & 1u) | (((idr >> 15) & 1u) << 1));
}
```

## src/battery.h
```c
#ifndef T2I_BATTERY_H
#define T2I_BATTERY_H

#include <stdbool.h>
#include <stdint.h>

/* Battery sense on PA7 = ADC1 IN7, and the charger status GPIOs.
 *
 * Stock has NO volts-or-percent conversion: it compares raw 12-bit counts
 * against fixed thresholds with hysteresis (2460 trip / 2731 clear) after a
 * self-calibrating offset. We expose raw counts plus that same low/normal
 * decision, and deliberately do not invent a voltage — the divider ratio is not
 * in the firmware, so counts cannot be converted without measuring the pack.
 */
void battery_init(void);

/* Raw 12-bit ADC counts, or -1 if the conversion did not complete. */
int battery_raw(void);

/* Ambient light, raw 12-bit counts. Lives here because it shares ADC1 with the battery — see
 * the note in battery.c on why it is not on stock's ADC2. */
int als_raw(void);

/* Stock's hysteresis: low below 2460, clears above 2731. */
bool battery_low(void);

/* Charger lines: PC9 = charger present, PC14/PC15 = 2-bit status. */
bool battery_charger_present(void);
uint8_t battery_charge_state(void);

#endif /* T2I_BATTERY_H */
```

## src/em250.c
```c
#include "em250.h"
#include "zbx.h"

#include <string.h>
#include <zephyr/kernel.h>

#define SOH    0x01
#define EOT    0x04
#define ACK    0x06
#define NAK    0x15
#define CAN    0x18
#define CRCCHR 'C'

/* Discard any ZBX frames the parser assembles. Once the radio is in its bootloader the bytes are
 * not frames at all, but the queue still has to be emptied so it does not back up. */
static void drain(void)
{
	const uint8_t *f;

	while (zbx_poll(&f)) {
	}
}

bool em250_bl_enter(void)
{
	static const uint8_t c02[] = { 0x02, 0x00 };
	static const uint8_t c08[] = { 0x08, 0x00 };
	static const uint8_t crlf[] = { '\r', '\n' };
	uint8_t raw[192];

	for (int attempt = 0; attempt < 4; attempt++) {
		zbx_send(c02, sizeof c02);
		for (int w = 0; w < 30; w++) { drain(); k_msleep(50); }

		zbx_raw_reset();
		zbx_send(c08, sizeof c08);
		for (int w = 0; w < 30; w++) { drain(); k_msleep(50); }

		/* The banner never comes back on the first CR, and a bare CR never works at
		 * all — it wants CR+LF roughly a second apart. Verify rather than assume:
		 * a run against a radio that never entered looks exactly like a run that
		 * found nothing. */
		for (int round = 0; round < 4; round++) {
			size_t n;

			zbx_raw_reset();
			zbx_tx_raw(crlf, sizeof crlf);
			for (int w = 0; w < 20; w++) { drain(); k_msleep(50); }
			n = zbx_raw(raw, sizeof raw);

			for (size_t i = 0; i + 5 <= n; i++) {
				if (memcmp(&raw[i], "EM250", 5) == 0) {
					return true;
				}
			}
		}
		zbx_uart_init();          /* PC13 reset, then try again */
		k_msleep(500);
	}
	return false;
}

size_t em250_bl_info(char *out, size_t max)
{
	static const uint8_t three[] = { '3' };
	uint8_t raw[192];
	size_t n, k = 0;

	zbx_raw_reset();
	zbx_tx_raw(three, sizeof three);
	for (int w = 0; w < 30; w++) { drain(); k_msleep(50); }
	n = zbx_raw(raw, sizeof raw);

	for (size_t i = 0; i < n && k + 1 < max; i++) {
		if (raw[i] >= 0x20 && raw[i] < 0x7f) {
			out[k++] = (char)raw[i];
		}
	}
	out[k] = 0;
	return k;
}

void em250_bl_run(void)
{
	static const uint8_t two[] = { '2' };

	zbx_tx_raw(two, sizeof two);
	for (int w = 0; w < 40; w++) { drain(); k_msleep(50); }
}

size_t em250_at(const char *cmd, uint32_t brr, char *out, size_t max, int wait_ms)
{
	uint32_t prev = zbx_set_brr(brr);
	size_t n = 0;
	int c;

	zbx_getc_flush();
	zbx_tx_raw((const uint8_t *)cmd, strlen(cmd));
	zbx_tx_raw((const uint8_t *)"\r", 1);

	/* Telegesis echoes the command then answers with a line and OK/ERROR. Collect whatever
	 * arrives within the window. */
	while ((c = zbx_getc(wait_ms)) >= 0 && n + 1 < max) {
		out[n++] = (char)c;
		wait_ms = 40;   /* after the first byte, only wait for the inter-byte gap */
	}
	out[n] = 0;
	zbx_set_brr(prev);
	return n;
}

size_t em250_at_wait(const char *cmd, uint32_t brr, char *out, size_t max, int total_ms)
{
	uint32_t prev = zbx_set_brr(brr);
	int64_t deadline = k_uptime_get() + total_ms;
	size_t n = 0;

	zbx_getc_flush();
	zbx_tx_raw((const uint8_t *)cmd, strlen(cmd));
	zbx_tx_raw((const uint8_t *)"\r", 1);

	/* Scan and join stream their result (JPAN, +PANSCAN:) seconds after the OK, so read for
	 * the whole window rather than stopping at the first inter-byte gap. */
	while (k_uptime_get() < deadline && n + 1 < max) {
		int c = zbx_getc(100);

		if (c >= 0) {
			out[n++] = (char)c;
		}
	}
	out[n] = 0;
	zbx_set_brr(prev);
	return n;
}

static uint16_t crc16_xmodem(const uint8_t *d, size_t n)
{
	uint16_t c = 0;

	for (size_t i = 0; i < n; i++) {
		c ^= (uint16_t)d[i] << 8;
		for (int b = 0; b < 8; b++) {
			c = (c & 0x8000u) ? (uint16_t)((c << 1) ^ 0x1021u)
					  : (uint16_t)(c << 1);
		}
	}
	return c;
}

bool em250_flash_ebl(const uint8_t *ebl, size_t len,
		     void (*progress)(unsigned done, unsigned total))
{
	static const uint8_t one[] = { '1' };
	static const uint8_t eot[] = { EOT };
	const unsigned total = (unsigned)((len + 127u) / 128u);
	uint8_t blk[133];
	int c;

	/* "1. upload ebl", then the receiver drives the handshake by sending 'C' to ask
	 * for CRC mode. Flush first: the menu text is still sitting in the FIFO. */
	zbx_getc_flush();
	zbx_tx_raw(one, sizeof one);

	for (int i = 0; ; i++) {
		c = zbx_getc(200);
		if (c == CRCCHR) {
			break;
		}
		if (i > 40) {
			return false;      /* no 'C' in ~8 s: not in upload mode */
		}
	}

	for (unsigned b = 0; b < total; b++) {
		size_t off = (size_t)b * 128u;
		size_t n = (len - off) < 128u ? (len - off) : 128u;
		uint16_t crc;
		bool acked = false;

		blk[0] = SOH;
		blk[1] = (uint8_t)((b + 1u) & 0xFFu);
		blk[2] = (uint8_t)(~blk[1]);
		/* The .ebl's own tail padding is 0xFF, so pad the short final block to
		 * match rather than with XMODEM's usual 0x1A. */
		memset(&blk[3], 0xFF, 128);
		memcpy(&blk[3], &ebl[off], n);
		crc = crc16_xmodem(&blk[3], 128);
		blk[131] = (uint8_t)(crc >> 8);
		blk[132] = (uint8_t)(crc & 0xFFu);

		for (int try = 0; try < 6 && !acked; try++) {
			zbx_tx_raw(blk, sizeof blk);
			c = zbx_getc(3000);
			if (c == ACK) {
				acked = true;
			} else if (c == CAN) {
				return false;
			}
			/* NAK or timeout: resend this block. */
		}
		if (!acked) {
			return false;
		}
		/* Called often, not just for display: the upload runs far longer than the
		 * ~8 s watchdog, so this is where the caller gets to feed it. */
		if (progress && (b % 8u) == 0u) {
			progress(b, total);
		}
	}

	for (int try = 0; try < 4; try++) {
		zbx_tx_raw(eot, sizeof eot);
		c = zbx_getc(3000);
		if (c == ACK) {
			if (progress) {
				progress(total, total);
			}
			return true;
		}
	}
	return false;
}
```

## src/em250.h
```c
#ifndef T2I_EM250_H
#define T2I_EM250_H

/*
 * Reflashing the EM250 from the remote itself.
 *
 * Opcode 0x08 launches the radio's Ember standalone bootloader on USART3 — no bootmode pin, no
 * hardware access (docs/ZIGBEE-PROTOCOL.md). The upload is plain XMODEM-CRC, exactly as RTI's own
 * ZBConfig.exe drives a ZB-Pro dongle over FTDI.
 *
 * This cannot brick the radio. The image's 97 program records write only 0x02800-0x19BC8,
 * 0x1C000-0x1CAAE and 0x1DF32-0x1DFFC; bytes 0x0000-0x27FF — the bootloader's reserved area — are
 * never written. A failed or interrupted upload leaves the application invalid, which keeps the
 * bootloader resident rather than losing it.
 *
 * It is NOT undoable, though: there is no copy of RTI's TXBZB image anywhere (not in the STM32
 * flash, not in Integration Designer, not on the VM disk) and no way to read one out of the radio
 * — the bootloader has no dump command and the app has no memory read. Only Ember's SIF debug
 * interface could dump it, and that needs physical probing.
 */

#include <stdbool.h>
#include <stddef.h>
#include <stdint.h>

/* Enter the radio's bootloader and confirm the banner. Retries; PC13 resets between attempts. */
bool em250_bl_enter(void);

/* Read the installed image's platform string (bootloader menu option 3) into out.
 * Returns bytes written. "xap2b-em250-em250-TXBZB" is RTI's stock radio app. */
size_t em250_bl_info(char *out, size_t max);

/* Leave the bootloader by running the application (menu option 2). */
void em250_bl_run(void);

/* XMODEM-CRC an .ebl into the radio. Must already be in the bootloader.
 * progress() is called with (blocks_done, blocks_total) so a long upload is observable. */
bool em250_flash_ebl(const uint8_t *ebl, size_t len,
		     void (*progress)(unsigned done, unsigned total));

/* Telegesis ETRX2 R3.0.8 — an EM250 AT-command image. Unlike RTI's TXBZB it is an open,
 * documented end device: you set the network key and PAN over AT, so it joins the CA-1 with no
 * preconfigured key, and it can sleep. Written by xxd, hence the _raw suffix. */
extern const unsigned char etrx2_ebl_raw[];
extern const unsigned int etrx2_ebl_raw_len;

/* Send an AT command line (CR-terminated is added) and copy the reply into out.
 * Returns bytes read. baud picks the USART3 divisor; the Telegesis default is 19200. */
size_t em250_at(const char *cmd, uint32_t brr, char *out, size_t max, int wait_ms);

/* Like em250_at but reads for the whole total_ms — for AT+JN / AT+PANSCAN, whose result streams
 * seconds after the initial OK. */
size_t em250_at_wait(const char *cmd, uint32_t brr, char *out, size_t max, int total_ms);

#endif
```

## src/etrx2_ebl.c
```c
/*
 * Telegesis ETRX2 EM250 radio image, embedded for the on-device reflash (src/em250.c).
 *
 * The image is NOT committed as a C array — it is generated at build time from tools/rti/etrx2.ebl
 * so it can be replaced by swapping that .ebl (a newer Telegesis build, or a different EM250 NCP).
 * The CMake generate_inc_file_for_target rule turns it into etrx2_ebl.inc during the build.
 */
#include <stddef.h>
#include <stdint.h>

const unsigned char etrx2_ebl_raw[] = {
#include "etrx2_ebl.inc"
};
const unsigned int etrx2_ebl_raw_len = sizeof etrx2_ebl_raw;
```
